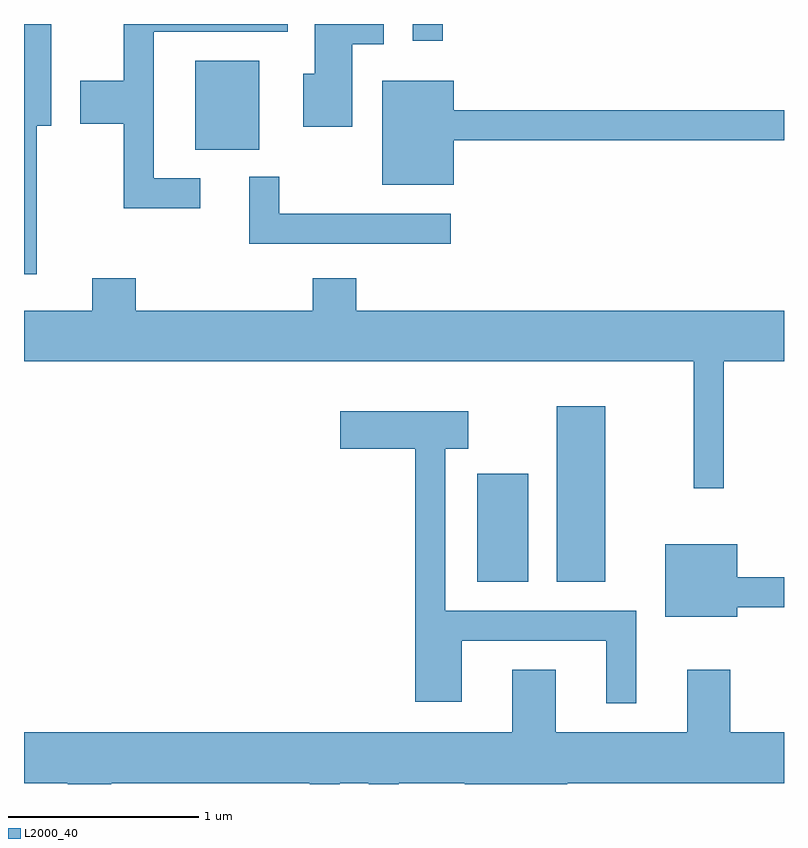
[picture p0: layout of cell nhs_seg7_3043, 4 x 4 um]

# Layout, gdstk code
import gdstk
lib = gdstk.Library(unit=1e-6, precision=1e-09)
def R(c, l, rs):  # rectangles x0, y0, x1, y1
    for r in rs: c.add(gdstk.rectangle(r[:2], r[2:], *l))
def P(c, l, *ps):  # polygons
    for p in ps: c.add(gdstk.Polygon(p, *l))
L2000_40 = (2000, 40)

nhs_seg7_3043 = lib.new_cell('nhs_seg7_3043')
R(nhs_seg7_3043, L2000_40, [(279.996,1775.316,280.264,1775.884), (280.416,1775.316,280.669,1776.239), (278.511,1777.591,278.849,1778.059), (279.656,1778.163,279.814,1778.252)])
P(nhs_seg7_3043, L2000_40, [(279.339,1778.146),(279.504,1778.146),(279.504,1778.252),(279.141,1778.252),(279.141,1777.989),(279.081,1777.989),(279.081,1777.711),(279.339,1777.711)],
  [(278.538,1777.439),(278.294,1777.439),(278.294,1778.211),(278.998,1778.211),(278.998,1778.252),(278.136,1778.252),(278.136,1777.954),(277.906,1777.954),(277.906,1777.726),(278.136,1777.726),(278.136,1777.281),(278.538,1777.281)],
  [(277.679,1777.716),(277.754,1777.716),(277.754,1778.252),(277.611,1778.252),(277.611,1776.936),(277.679,1776.936)],
  [(279.874,1777.641),(281.611,1777.641),(281.611,1777.799),(279.874,1777.799),(279.874,1777.954),(279.496,1777.954),(279.496,1777.406),(279.874,1777.406)],
  [(279.858,1777.254),(278.954,1777.254),(278.954,1777.448),(278.796,1777.448),(278.796,1777.096),(279.858,1777.096)],
  [(281.294,1776.476),(281.611,1776.476),(281.611,1776.744),(279.359,1776.744),(279.359,1776.914),(279.131,1776.914),(279.131,1776.744),(278.199,1776.744),(278.199,1776.914),(277.971,1776.914),(277.971,1776.744),(277.611,1776.744),(277.611,1776.476),(281.136,1776.476),(281.136,1775.808),(281.294,1775.808)],
  [(280.834,1775.164),(279.829,1775.164),(279.829,1776.016),(279.949,1776.016),(279.949,1776.214),(279.276,1776.214),(279.276,1776.016),(279.671,1776.016),(279.671,1774.686),(279.914,1774.686),(279.914,1775.006),(280.676,1775.006),(280.676,1774.678),(280.834,1774.678)],
  [(281.364,1775.181),(281.611,1775.181),(281.611,1775.339),(281.364,1775.339),(281.364,1775.514),(280.986,1775.514),(280.986,1775.131),(281.364,1775.131)],
  [(278.069,1774.256),(279.116,1774.256),(279.116,1774.252),(279.274,1774.252),(279.274,1774.256),(279.426,1774.256),(279.426,1774.252),(279.584,1774.252),(279.584,1774.256),(279.931,1774.256),(279.931,1774.252),(280.469,1774.252),(280.469,1774.256),(281.611,1774.256),(281.611,1774.524),(281.329,1774.524),(281.329,1774.854),(281.101,1774.854),(281.101,1774.524),(280.409,1774.524),(280.409,1774.854),(280.181,1774.854),(280.181,1774.524),(277.611,1774.524),(277.611,1774.256),(277.841,1774.256),(277.841,1774.252),(278.069,1774.252)])

lib.write_gds('nhs_seg7_3043.gds')
